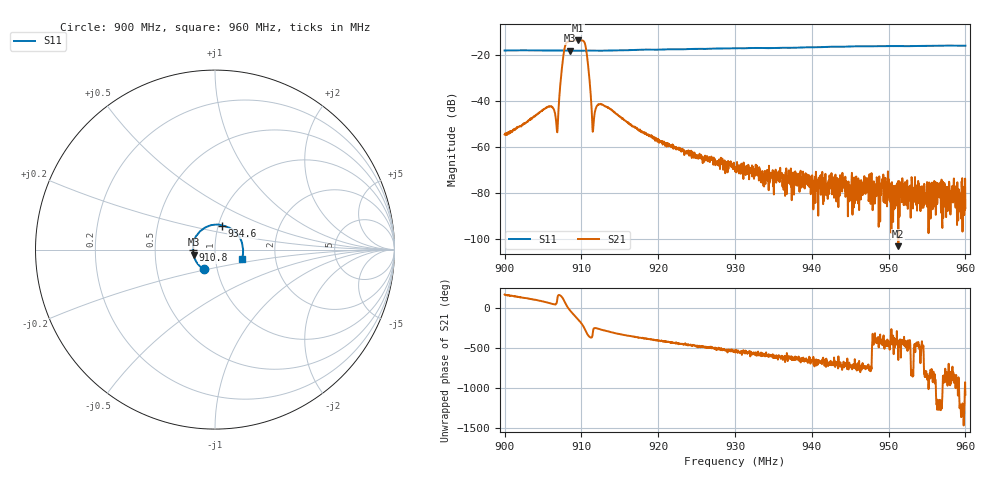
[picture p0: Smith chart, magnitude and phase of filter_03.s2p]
!Agilent Technologies,E5071C,MY46214392,A.11.36
!Date: Thu Feb 26 21:14:29 2026
!Data & Calibration Information:
!Freq	S11:NONE(--)	S21:NONE(--)	S12:NONE(--)	S22:NONE(--)
!PortZ  Port1:50+j0  Port2:50+j0
!Above PortZ is port z conversion or system Z0 setting when saving the data.
!When reading, reference impedance value at option line is always used.
# Hz S dB R 50
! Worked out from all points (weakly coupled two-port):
!   1601 points, 900 MHz to 960 MHz, reference 50 ohm
!   highest |S21| = -13.77 dB at 909.6 MHz (marker M1); lowest = -103.2 dB at 951.3 MHz (marker M2)
!   lowest |S11| = -18.2 dB at 908.5 MHz (marker M3), VSWR 1.28, Z = 39.3 - j2.24 ohm
!   |S11| at or under -10 dB: start of sweep to end of sweep
!   S12 and S22 are empty: the file has one direction only
!   S11 on the Smith chart (normalised r, x): 900 MHz: 0.86, -0.19; 910.8 MHz: 0.78, -0.01; 934.6 MHz: 1.04, +0.29; 960 MHz: 1.34, -0.15
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9e8  -18.11 -120.4  -54.63 167.6  -200.00 0.0  -200.00 0.0
9.057e8  -18.13 -151.7  -42.63 65.0  -200.00 0.0  -200.00 0.0
9.0675e8  -18.16 -157.3  -50.40 57.5  -200.00 0.0  -200.00 0.0
9.070125e8  -18.16 -158.7  -44.18 160.3  -200.00 0.0  -200.00 0.0
9.07425e8  -18.14 -160.9  -26.99 140.8  -200.00 0.0  -200.00 0.0
9.077625e8  -18.13 -162.9  -17.95 88.9  -200.00 0.0  -200.00 0.0
9.085125e8  -18.24 -166.7  -14.05 -29.7  -200.00 0.0  -200.00 0.0
9.096e8  -18.21 -172.2  -13.77 -145.0  -200.00 0.0  -200.00 0.0
9.100125e8  -18.22 -174.3  -13.78 167.3  -200.00 0.0  -200.00 0.0
9.10425e8  -18.20 -176.2  -14.82 100.1  -200.00 0.0  -200.00 0.0
9.108e8  -18.16 -178.4  -22.41 29.9  -200.00 0.0  -200.00 0.0
9.11325e8  -18.19 178.8  -43.21 -7.9  -200.00 0.0  -200.00 0.0
9.115875e8  -18.19 177.5  -49.57 101.8  -200.00 0.0  -200.00 0.0
9.121125e8  -18.20 174.9  -41.85 104.6  -200.00 0.0  -200.00 0.0
9.127125e8  -18.22 172.1  -41.68 86.6  -200.00 0.0  -200.00 0.0
9.20025e8  -17.76 136.2  -56.71 -47.7  -200.00 0.0  -200.00 0.0
9.3e8  -17.17 92.1  -68.57 -166.0  -200.00 0.0  -200.00 0.0
9.346125e8  -17.09 73.7  -73.07 117.4  -200.00 0.0  -200.00 0.0
9.400125e8  -16.73 54.2  -78.76 68.4  -200.00 0.0  -200.00 0.0
9.50025e8  -16.21 17.4  -74.00 -58.8  -200.00 0.0  -200.00 0.0
9.512625e8  -16.20 12.8  -103.15 72.7  -200.00 0.0  -200.00 0.0
9.6e8  -16.06 -19.6  -86.66 -0.0  -200.00 0.0  -200.00 0.0
